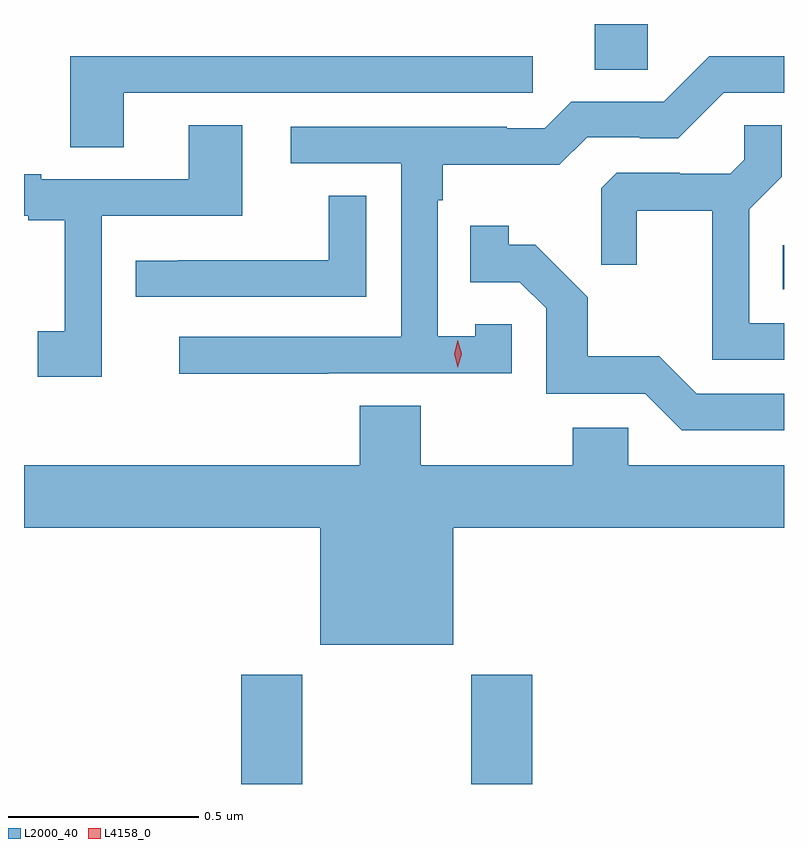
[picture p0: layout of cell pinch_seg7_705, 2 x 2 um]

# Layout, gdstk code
import gdstk
lib = gdstk.Library(unit=1e-6, precision=1e-09)
def R(c, l, rs):  # rectangles x0, y0, x1, y1
    for r in rs: c.add(gdstk.rectangle(r[:2], r[2:], *l))
def P(c, l, *ps):  # polygons
    for p in ps: c.add(gdstk.Polygon(p, *l))
L2000_40 = (2000, 40)
L4158_0 = (4158, 0)

pinch_seg7_705 = lib.new_cell('pinch_seg7_705')
R(pinch_seg7_705, L2000_40, [(195.125,1026.581,195.285,1026.868), (195.73,1026.581,195.89,1026.868), (196.55,1027.883,196.553,1027.999), (196.055,1028.461,196.194,1028.581)])
P(pinch_seg7_705, L2000_40, [(194.815,1028.4),(195.892,1028.4),(195.892,1028.496),(194.675,1028.496),(194.675,1028.257),(194.815,1028.257)],
  [(195.353,1027.662),(195.837,1027.662),(195.837,1027.791),(195.741,1027.791),(195.741,1027.759),(195.642,1027.759),(195.642,1028.117),(195.655,1028.117),(195.655,1028.21),(195.962,1028.21),(196.035,1028.283),(196.174,1028.283),(196.174,1028.28),(196.275,1028.28),(196.395,1028.4),(196.553,1028.4),(196.553,1028.496),(196.356,1028.496),(196.236,1028.376),(195.993,1028.376),(195.924,1028.307),(195.824,1028.307),(195.824,1028.31),(195.255,1028.31),(195.255,1028.214),(195.546,1028.214),(195.546,1027.758),(194.961,1027.758),(194.961,1027.66),(195.353,1027.66)],
  [(194.757,1028.076),(195.127,1028.076),(195.127,1028.315),(194.987,1028.315),(194.987,1028.172),(194.599,1028.172),(194.599,1028.185),(194.553,1028.185),(194.553,1028.076),(194.564,1028.076),(194.564,1028.064),(194.66,1028.064),(194.66,1027.773),(194.589,1027.773),(194.589,1027.653),(194.757,1027.653)],
  [(196.553,1027.794),(196.461,1027.794),(196.461,1028.093),(196.547,1028.179),(196.547,1028.315),(196.449,1028.315),(196.449,1028.224),(196.412,1028.187),(196.278,1028.187),(196.278,1028.19),(196.113,1028.19),(196.072,1028.149),(196.072,1027.947),(196.166,1027.947),(196.166,1028.09),(196.364,1028.09),(196.364,1027.698),(196.553,1027.698)],
  [(195.453,1028.129),(195.355,1028.129),(195.355,1027.959),(194.959,1027.959),(194.959,1027.958),(194.847,1027.958),(194.847,1027.863),(195.453,1027.863)],
  [(196.553,1027.608),(196.323,1027.608),(196.225,1027.707),(196.036,1027.707),(196.036,1027.862),(195.898,1028),(195.828,1028),(195.828,1028.05),(195.727,1028.05),(195.727,1027.902),(195.858,1027.902),(195.927,1027.833),(195.927,1027.608),(196.188,1027.608),(196.284,1027.512),(196.553,1027.512)],
  [(195.682,1027.256),(196.553,1027.256),(196.553,1027.42),(196.143,1027.42),(196.143,1027.518),(195.997,1027.518),(195.997,1027.42),(195.597,1027.42),(195.597,1027.577),(195.437,1027.577),(195.437,1027.42),(194.553,1027.42),(194.553,1027.256),(195.332,1027.256),(195.332,1026.947),(195.682,1026.947)])
P(pinch_seg7_705, L4158_0, [(195.695,1027.677),(195.695,1027.678),(195.685,1027.713),(195.695,1027.749),(195.695,1027.749),(195.695,1027.749),(195.705,1027.713),(195.695,1027.678)])

lib.write_gds('pinch_seg7_705.gds')
